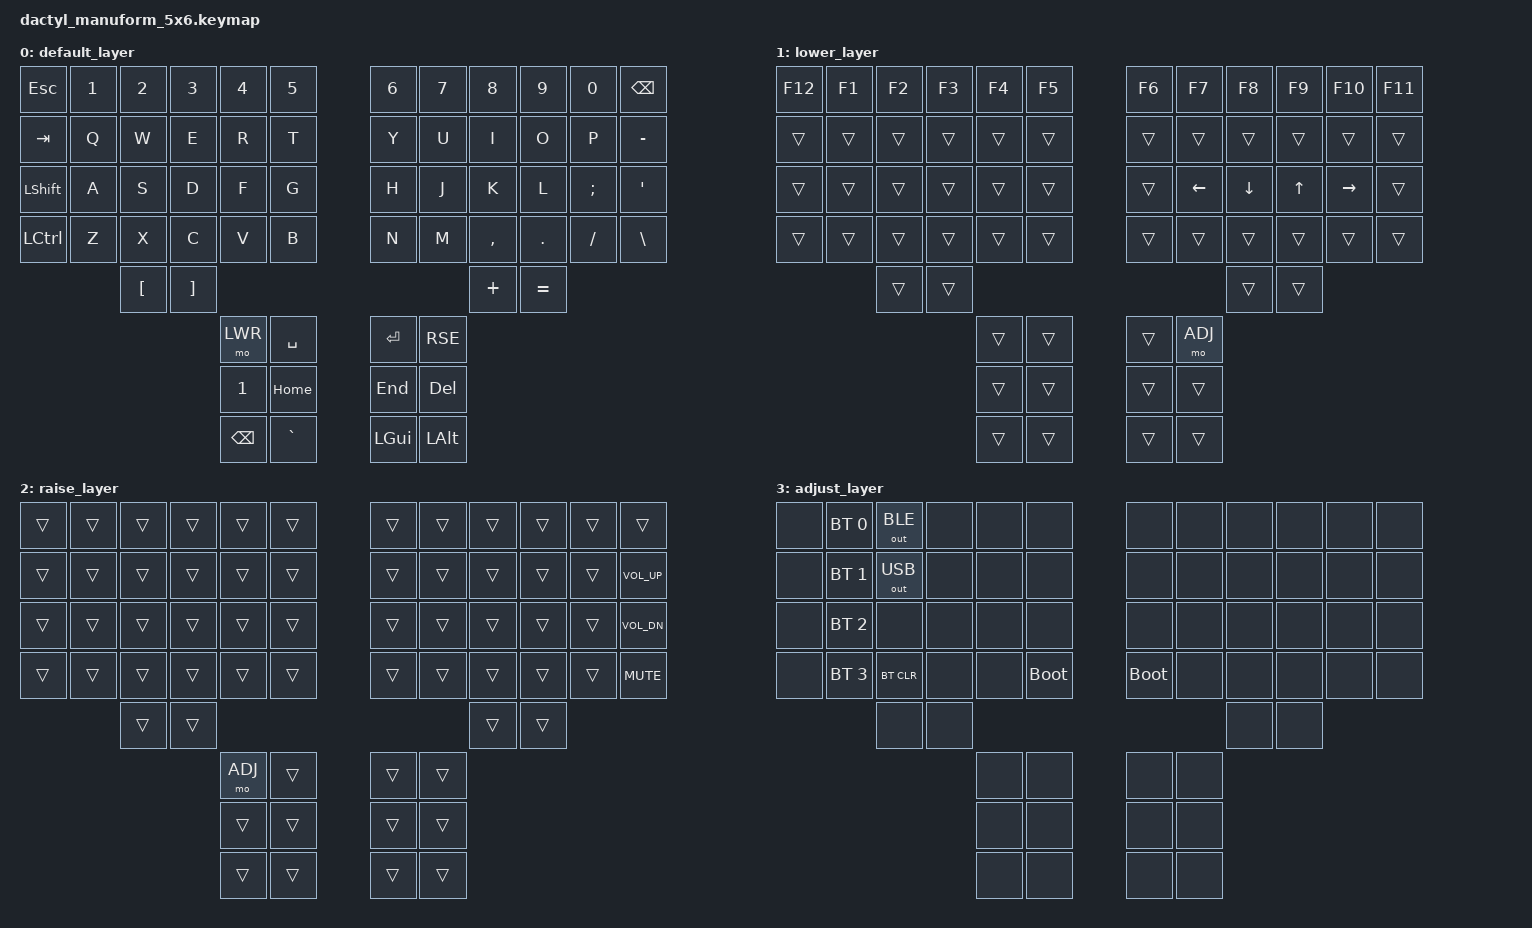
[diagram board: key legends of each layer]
// Copyright (c) 2022 The ZMK Contributors
// SPDX-License-Identifier: MIT

#include <behaviors.dtsi>
#include <dt-bindings/zmk/bt.h>
#include <dt-bindings/zmk/keys.h>
#include <dt-bindings/zmk/outputs.h>
#include <dt-bindings/zmk/pointing.h>
#include <dt-bindings/zmk/mouse.h>

#define ZMK_POINTING_DEFAULT_MOVE_VAL 1100  // default: 600
#define ZMK_POINTING_DEFAULT_SCRL_VAL 15    // default: 10

&msc {
    x-input-code = <INPUT_REL_HWHEEL>;
    y-input-code = <INPUT_REL_WHEEL>;
    time-to-max-speed-ms = <100>;
    acceleration-exponent = <3>;
};

&mmv {
    x-input-code = <INPUT_REL_X>;
    y-input-code = <INPUT_REL_Y>;
    time-to-max-speed-ms = <300>;
    acceleration-exponent = <1>;
};

&lt { tapping-term-ms = <170>; };

/ {
    keymap {
        compatible = "zmk,keymap";

        default_layer {
            bindings = <
                &kp ESC   &kp N1 &kp N2 &kp N3 &kp N4 &kp N5              &kp N6 &kp N7 &kp N8    &kp N9  &kp N0   &kp BSPC
                &kp TAB   &kp Q  &kp W  &kp E  &kp R  &kp T               &kp Y  &kp U  &kp I     &kp O   &kp P    &kp MINUS
                &kp LSHFT &kp A  &kp S  &kp D  &kp F  &kp G               &kp H  &kp J  &kp K     &kp L   &kp SEMI &kp SQT
                &kp LCTRL &kp Z  &kp X  &kp C  &kp V  &kp B               &kp N  &kp M  &kp COMMA &kp DOT &kp FSLH &kp BSLH
                                 &kp LBKT &kp RBKT                                      &kp PLUS &kp EQUAL
                                            &mo LWR  &kp SPACE            &kp RET  &kp RSE
                                            &kp N1   &kp HOME             &kp END  &kp DEL
                                            &kp BSPC &kp GRAVE            &kp LGUI &kp LALT
            >;
        };

        lower_layer {
            bindings = <
                &kp F12 &kp F1 &kp F2 &kp F3 &kp F4 &kp F5                &kp F6 &kp F7   &kp F8   &kp F9 &kp F10   &kp F11
                &trans  &trans &trans &trans &trans &trans                &trans &trans   &trans   &trans &trans    &trans
                &trans  &trans &trans &trans &trans &trans                &trans &kp LEFT &kp DOWN &kp UP &kp RIGHT &trans
                &trans  &trans &trans &trans &trans &trans                &trans &trans   &trans   &trans &trans    &trans
                               &trans &trans                                              &trans &trans
                                             &trans &trans                &trans &mo ADJ
                                             &trans &trans                &trans &trans
                                             &trans &trans                &trans &trans
            >;
        };

        raise_layer {
            bindings = <
                &trans  &trans &trans &trans &trans &trans                &trans &trans &trans &trans &trans &trans
                &trans  &trans &trans &trans &trans &trans                &trans &trans &trans &trans &trans &kp K_VOL_UP
                &trans  &trans &trans &trans &trans &trans                &trans &trans &trans &trans &trans &kp K_VOL_DN
                &trans  &trans &trans &trans &trans &trans                &trans &trans &trans &trans &trans &kp K_MUTE
                               &trans &trans                                            &trans &trans
                                             &mo ADJ &trans               &trans &trans
                                             &trans  &trans               &trans &trans
                                             &trans  &trans               &trans &trans
            >;
        };

        adjust_layer {
            bindings = <
                &none &bt BT_SEL 0 &out OUT_BLE &none &none  &none            &none       &none  &none &none &none &none
                &none &bt BT_SEL 1 &out OUT_USB &none &none &none            &none       &none &none &none &none &none
                &none &bt BT_SEL 2 &none        &none &none  &none            &none       &none  &none &none &none &none
                &none &bt BT_SEL 3 &bt BT_CLR   &none &none  &bootloader      &bootloader &none  &none &none &none &none
                                   &none        &none                                            &none &none
                                                      &none &none             &none &none
                                                      &none &none             &none &none
                                                      &none &none             &none &none
            >;
        };
    };
};
